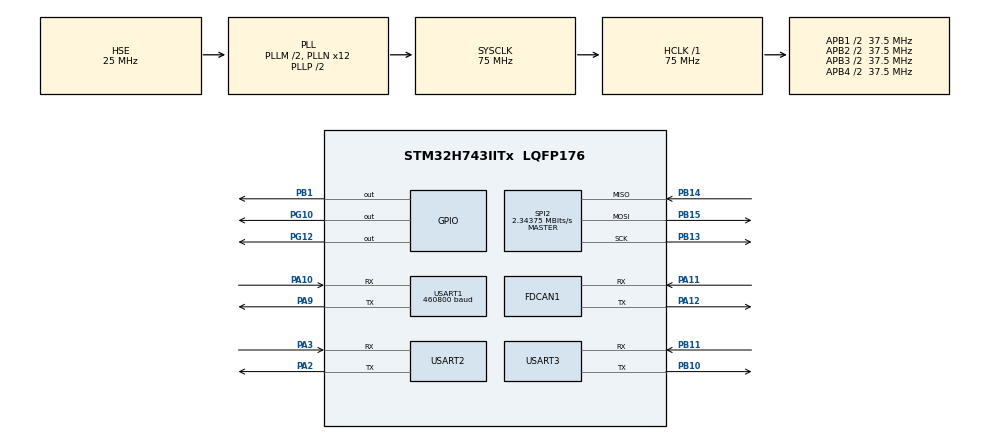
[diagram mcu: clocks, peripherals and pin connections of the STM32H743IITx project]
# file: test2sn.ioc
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FDCAN1.DataPrescaler=8
FDCAN1.DataSyncJumpWidth=1
FDCAN1.DataTimeSeg1=10
FDCAN1.DataTimeSeg2=9
FDCAN1.ExtFiltersNbr=0
FDCAN1.NominalPrescaler=8
FDCAN1.NominalSyncJumpWidth=1
FDCAN1.NominalTimeSeg1=10
FDCAN1.NominalTimeSeg2=9
FDCAN1.RxFifo0ElmtsNbr=1
FDCAN1.StdFiltersNbr=1
FDCAN1.TxFifoQueueElmtsNbr=1
FREERTOS.INCLUDE_vTaskDelayUntil=1
FREERTOS.Tasks01=defaultTask,0,128,StartDefaultTask,Default,NULL,Dynamic,NULL,NULL
Mcu.Family=STM32H7
Mcu.Name=STM32H743IITx
Mcu.Package=LQFP176
NVIC.FDCAN1_IT0_IRQn=true\:6\:0\:true\:false\:true\:true\:true\:true\:true
NVIC.PriorityGroup=NVIC_PRIORITYGROUP_4
NVIC.TIM16_IRQn=true\:9\:0\:true\:false\:true\:true\:true\:true\:true
NVIC.TIM17_IRQn=true\:7\:0\:true\:false\:true\:true\:true\:true\:true
NVIC.TIM1_UP_IRQn=true\:0\:0\:false\:false\:true\:false\:false\:true\:true
NVIC.TimeBase=TIM1_UP_IRQn
NVIC.TimeBaseIP=TIM1
NVIC.USART3_IRQn=true\:8\:0\:true\:false\:true\:true\:true\:true\:true
PA10.Mode=Asynchronous
PA10.Signal=USART1_RX
PA11.Mode=FDCAN_Activate
PA11.Signal=FDCAN1_RX
PA12.Mode=FDCAN_Activate
PA12.Signal=FDCAN1_TX
PA13\ (JTMS/SWDIO).Mode=Serial_Wire
PA13\ (JTMS/SWDIO).Signal=DEBUG_JTMS-SWDIO
PA14\ (JTCK/SWCLK).Mode=Serial_Wire
PA14\ (JTCK/SWCLK).Signal=DEBUG_JTCK-SWCLK
PA2.Mode=Asynchronous
PA2.Signal=USART2_TX
PA3.Mode=Asynchronous
PA3.Signal=USART2_RX
PA9.Mode=Asynchronous
PA9.Signal=USART1_TX
PB1.Signal=GPIO_Output
PB10.Mode=Asynchronous
PB10.Signal=USART3_TX
PB11.Mode=Asynchronous
PB11.Signal=USART3_RX
PB13.Mode=Full_Duplex_Master
PB13.Signal=SPI2_SCK
PB14.Mode=Full_Duplex_Master
PB14.Signal=SPI2_MISO
PB15.Mode=Full_Duplex_Master
PB15.Signal=SPI2_MOSI
PC14-OSC32_IN\ (OSC32_IN).Mode=LSE-External-Oscillator
PC14-OSC32_IN\ (OSC32_IN).Signal=RCC_OSC32_IN
PC15-OSC32_OUT\ (OSC32_OUT).Mode=LSE-External-Oscillator
PC15-OSC32_OUT\ (OSC32_OUT).Signal=RCC_OSC32_OUT
PG10.PinState=GPIO_PIN_SET
PG10.Signal=GPIO_Output
PG12.PinState=GPIO_PIN_SET
PG12.Signal=GPIO_Output
PH0-OSC_IN\ (PH0).Mode=HSE-External-Oscillator
PH0-OSC_IN\ (PH0).Signal=RCC_OSC_IN
PH1-OSC_OUT\ (PH1).Mode=HSE-External-Oscillator
PH1-OSC_OUT\ (PH1).Signal=RCC_OSC_OUT
ProjectManager.HeapSize=0x200
ProjectManager.StackSize=0x400
ProjectManager.TargetToolchain=STM32CubeIDE
RCC.ADCFreq_Value=200000000
RCC.APB1Freq_Value=37500000
RCC.APB2Freq_Value=37500000
RCC.APB3Freq_Value=37500000
RCC.APB4Freq_Value=37500000
RCC.CortexFreq_Value=75000000
RCC.D1PPRE=RCC_APB3_DIV2
RCC.D2PPRE1=RCC_APB1_DIV2
RCC.D2PPRE2=RCC_APB2_DIV2
RCC.D3PPRE=RCC_APB4_DIV2
RCC.DIVM1=2
RCC.DIVM2=2
RCC.DIVN1=12
RCC.DIVN2=32
RCC.DIVQ1=1
RCC.DIVQ2=5
RCC.FDCANCLockSelection=RCC_FDCANCLKSOURCE_PLL2
RCC.HCLKFreq_Value=75000000
RCC.PLL2FRACN=0
RCC.PLL3FRACN=0
RCC.PLLFRACN=0
RCC.PLLSourceVirtual=RCC_PLLSOURCE_HSE
RCC.RTCClockSelection=RCC_RTCCLKSOURCE_LSE
RCC.SYSCLKFreq_VALUE=75000000
RCC.SYSCLKSource=RCC_SYSCLKSOURCE_PLLCLK
RCC.USBFreq_Value=150000000
RTC.Date=2
RTC.Hours=9
RTC.Minutes=50
RTC.Month=RTC_MONTH_DECEMBER
RTC.Seconds=30
RTC.WeekDay=RTC_WEEKDAY_WEDNESDAY
RTC.Year=21
SPI2.BaudRatePrescaler=SPI_BAUDRATEPRESCALER_64
SPI2.CalculateBaudRate=2.34375 MBits/s
SPI2.DataSize=SPI_DATASIZE_8BIT
SPI2.Direction=SPI_DIRECTION_2LINES
SPI2.Mode=SPI_MODE_MASTER
SPI2.VirtualType=VM_MASTER
TIM16.Period=99
TIM16.Prescaler=7499
TIM17.Period=10-1
TIM17.Prescaler=6400-1
USART1.BaudRate=460800
USART1.VirtualMode-Asynchronous=VM_ASYNC
USART2.VirtualMode-Asynchronous=VM_ASYNC
USART3.VirtualMode-Asynchronous=VM_ASYNC
VP_FREERTOS_VS_CMSIS_V1.Mode=CMSIS_V1
VP_RTC_VS_RTC_Activate.Mode=RTC_Enabled
VP_RTC_VS_RTC_Calendar.Mode=RTC_Calendar
VP_RTC_VS_RTC_WakeUp_intern.Mode=WakeUp
VP_SYS_VS_tim1.Mode=TIM1
VP_TIM16_VS_ClockSourceINT.Mode=Enable_Timer
VP_TIM17_VS_ClockSourceINT.Mode=Enable_Timer
board=custom

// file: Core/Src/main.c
/* USER CODE BEGIN Header */
/**
  ******************************************************************************
  * @file           : main.c
  * @brief          : VehMotionHub — vehicle IMU + CAN motion logger
  ******************************************************************************
  * @attention
  *
  * <h2><center>&copy; Copyright (c) 2021 STMicroelectronics.
  * All rights reserved.</center></h2>
  *
  * This software component is licensed by ST under BSD 3-Clause license,
  * the "License"; You may not use this file except in compliance with the
  * License. You may obtain a copy of the License at:
  *                        opensource.org/licenses/BSD-3-Clause
  *
  ******************************************************************************
  */
/* USER CODE END Header */
#include "main.h"
#include "cmsis_os.h"
#include "fdcan.h"
#include "rtc.h"
#include "spi.h"
#include "tim.h"
#include "usart.h"
#include "gpio.h"

/* USER CODE BEGIN Includes */
#include "scha63x.h"
#include "app_rtos.h"
#include "app_tasks.h"
#include <stdbool.h>
/* USER CODE END Includes */

/* USER CODE BEGIN PTD */
#define CAN_ID_STEER_WHL_AG      (0x040U)
#define CAN_ID_WHL_FRNT          (0x1A0U)
#define CAN_ID_WHL_REAR          (0x1C0U)
#define CAN_ID_VEH_SPD_LGT       (0x0E0U)
#define CAN_ID_GEAR_LVR          (0x120U)
#define GRODO_CAN_UPDATES_MIN    ((uint8_t)5)
#define CAN_SPEED_SCALE          (0.00391f)
#define NMEA_SENTENCE_CAP        (160U)
#define NMEA_PREFIX_CAP          (16U)
#define UNIX_EPOCH_YEAR          (INT64_C(1970))
#define DAYS_PER_YEAR            (INT64_C(365))
#define SECONDS_PER_DAY          (INT64_C(86400))
#define SECONDS_PER_HOUR         (INT64_C(3600))
#define SECONDS_PER_MINUTE       (INT64_C(60))
#define BEIJING_UTC_OFFSET_H     (INT64_C(8))
#define STAMP_U32_MAX            (INT64_C(4294967295))
#define CAN_BYTE_GEAR            ((uint8_t)0)
#define CAN_BYTE_STEER           ((uint8_t)1)
#define CAN_BYTE_WHL_FL          ((uint8_t)1)
#define CAN_BYTE_WHL_RL          ((uint8_t)3)
#define CAN_BYTE_WHL_FR          ((uint8_t)5)
#define CAN_BYTE_WHL_RR          ((uint8_t)7)
#define CAN_BYTE_VEH_SPD         ((uint8_t)5)
#define NMEA_FIELD_TIME          ((uint8_t)1)
#define NMEA_FIELD_DATE          ((uint8_t)9)
#define UART_TX_TIMEOUT_MS       (0xFFFFU)

typedef struct
{
  float veh_speed;
  float gear;
  float steer;
  float whl_ft_l;
  float whl_ft_r;
  float whl_rr_l;
  float whl_rr_r;
} vehicle_can_payload_t;
/* USER CODE END PTD */

/* USER CODE BEGIN PV */
static RTC_DateTypeDef sdatestructure;
static RTC_TimeTypeDef stimestructure;
static double rtc_unix_sec = 0.0;
static double imu_time_offset = 0.0;
static double time_ms = 0.0;
static uint8_t can_update_count = (uint8_t)0;
static scha63x_real_data scha63x_data;
static vehicle_can_payload_t vehicle_data;
/* USER CODE END PV */

void SystemClock_Config(void);
void MX_FREERTOS_Init(void);
/* USER CODE BEGIN PFP */
static uint8_t ascii_hex(uint8_t nibble);
static void append_char(uint8_t *dst, uint32_t cap, uint32_t *pos, uint8_t ch);
static void nmea_begin(uint8_t *dst, uint32_t cap, uint32_t *pos, const char *prefix);
static void append_fixed3(uint8_t *dst, uint32_t cap, uint32_t *pos, double value);
static double f64_from_float(float value);
static void append_float_field(uint8_t *dst, uint32_t cap, uint32_t *pos, double value, bool last);
static uint8_t nmea_checksum(const uint8_t *sentence);
static void log_nmea(uint8_t *sentence, uint32_t cap, uint32_t pos);
static void log_cstring(const char *text);
static float u8_scaled(uint8_t raw);
static float u8_as_float(uint8_t raw);
static void note_can_update(void);
static uint8_t parse_two_digits(const uint8_t *src);
static uint32_t time2Stamp(const RTC_DateTypeDef *date, const RTC_TimeTypeDef *time);
static void usart3_forward_to_uart2(uint8_t *frame, uint16_t len);
static void sync_rtc_from_usart3(const uint8_t *frame, uint16_t len);
static void handle_usart3_frame(void);
static void vehicle_can_handle_frame(uint32_t can_id, const uint8_t *payload);
static void publish_grodo_sentence(void);
static void publish_grimu_sentence(void);
static void imu_sample_and_publish(void);
static void FDCAN1_ConfigFilter(uint32_t index, uint32_t id);
static void FDCAN1_Config(void);
/* USER CODE END PFP */

/* USER CODE BEGIN 0 */

static uint8_t ascii_hex(uint8_t nibble)
{
  static const uint8_t hex_chars[16] =
  {
    (uint8_t)'0', (uint8_t)'1', (uint8_t)'2', (uint8_t)'3',
    (uint8_t)'4', (uint8_t)'5', (uint8_t)'6', (uint8_t)'7',
    (uint8_t)'8', (uint8_t)'9', (uint8_t)'a', (uint8_t)'b',
    (uint8_t)'c', (uint8_t)'d', (uint8_t)'e', (uint8_t)'f'
  };
  uint8_t index;
  uint8_t ch;

  index = nibble;
  if (index > (uint8_t)15)
  {
    index = (uint8_t)0;
  }
  ch = hex_chars[index];
  return ch;
}

static void append_char(uint8_t *dst, uint32_t cap, uint32_t *pos, uint8_t ch)
{
  uint32_t index;

  if ((dst != NULL) && (pos != NULL))
  {
    index = *pos;
    if ((index + 1U) < cap)
    {
      dst[index] = ch;
      index++;
      dst[index] = 0U;
      *pos = index;
    }
  }
}

static void nmea_begin(uint8_t *dst, uint32_t cap, uint32_t *pos, const char *prefix)
{
  uint32_t i;
  char ch;
  uint8_t byte;
  bool stop;

  if (pos != NULL)
  {
    *pos = 0U;
  }
  if ((dst != NULL) && (cap > 0U))
  {
    dst[0] = 0U;
  }

  stop = false;
  if (prefix != NULL)
  {
    for (i = 0U; i < NMEA_PREFIX_CAP; i++)
    {
      if (stop == false)
      {
        ch = prefix[i];
        if (ch == '\0')
        {
          stop = true;
        }
        else
        {
          byte = (uint8_t)ch;
          append_char(dst, cap, pos, byte);
        }
      }
    }
  }
}

static void append_fixed3(uint8_t *dst, uint32_t cap, uint32_t *pos, double value)
{
  uint64_t scaled;
  uint64_t whole;
  uint64_t digit;
  uint32_t frac;
  uint32_t n;
  uint32_t part;
  double mag;
  double scaled_d;
  uint8_t digits[20];
  uint8_t d8;
  bool negative;

  negative = false;
  mag = value;
  if (mag < 0.0)
  {
    negative = true;
    mag = -mag;
  }
  if (mag != mag)
  {
    mag = 0.0;
    negative = false;
  }

  scaled_d = (mag * 1000.0) + 0.5;
  if (scaled_d > 1000000000000000.0)
  {
    scaled_d = 1000000000000000.0;
  }
  scaled = (uint64_t)scaled_d;
  if (scaled == 0ULL)
  {
    negative = false;
  }

  whole = scaled / 1000ULL;
  digit = scaled % 1000ULL;
  frac = (uint32_t)digit;

  if (negative == true)
  {
    append_char(dst, cap, pos, (uint8_t)'-');
  }

  n = 0U;
  if (whole == 0ULL)
  {
    d8 = (uint8_t)0;
    digits[0] = ascii_hex(d8);
    n = 1U;
  }
  else
  {
    while ((whole > 0ULL) && (n < 20U))
    {
      digit = whole % 10ULL;
      whole /= 10ULL;
      d8 = (uint8_t)digit;
      digits[n] = ascii_hex(d8);
      n++;
    }
  }

  while (n > 0U)
  {
    n--;
    append_char(dst, cap, pos, digits[n]);
  }

  append_char(dst, cap, pos, (uint8_t)'.');
  part = frac / 100U;
  d8 = (uint8_t)part;
  append_char(dst, cap, pos, ascii_hex(d8));
  part = (frac / 10U) % 10U;
  d8 = (uint8_t)part;
  append_char(dst, cap, pos, ascii_hex(d8));
  part = frac % 10U;
  d8 = (uint8_t)part;
  append_char(dst, cap, pos, ascii_hex(d8));
}

static double f64_from_float(float value)
{
  double out;

  out = (double)value;
  return out;
}

static void append_float_field(uint8_t *dst, uint32_t cap, uint32_t *pos, double value, bool last)
{
  uint8_t sep;

  append_fixed3(dst, cap, pos, value);
  if (last == true)
  {
    sep = (uint8_t)'*';
  }
  else
  {
    sep = (uint8_t)',';
  }
  append_char(dst, cap, pos, sep);
}

static uint8_t nmea_checksum(const uint8_t *sentence)
{
  uint32_t acc;
  uint32_t i;
  uint8_t byte;
  bool started;
  bool found_star;
  bool stop;

  acc = 0U;
  started = false;
  found_star = false;
  stop = false;
  i = 0U;

  if (sentence != NULL)
  {
    while ((i < NMEA_SENTENCE_CAP) && (stop == false))
    {
      byte = sentence[i];
      if (byte == 0U)
      {
        stop = true;
      }
      else if (byte == (uint8_t)'$')
      {
        started = true;
      }
      else if (byte == (uint8_t)'*')
      {
        found_star = true;
        stop = true;
      }
      else if (started == true)
      {
        acc ^= (uint32_t)byte;
      }
      else
      {
        /* Bytes before '$' are not part of the checksum. */
      }
      i++;
    }
  }

  if ((started == false) || (found_star == false))
  {
    acc = 0U;
  }
  return (uint8_t)acc;
}

static void log_nmea(uint8_t *sentence, uint32_t cap, uint32_t pos)
{
  uint8_t sum;
  uint32_t sum_u;
  uint32_t nibble;
  uint8_t hi;
  uint8_t lo;

  sum = nmea_checksum(sentence);
  sum_u = (uint32_t)sum;
  nibble = sum_u >> 4U;
  nibble &= 0x0FU;
  hi = (uint8_t)nibble;
  nibble = sum_u & 0x0FU;
  lo = (uint8_t)nibble;
  append_char(sentence, cap, &pos, ascii_hex(hi));
  append_char(sentence, cap, &pos, ascii_hex(lo));
  append_char(sentence, cap, &pos, (uint8_t)'\r');
  append_char(sentence, cap, &pos, (uint8_t)'\n');
  if (pos <= 0xFFFFU)
  {
    App_LogWrite(sentence, (uint16_t)pos);
  }
}

static void log_cstring(const char *text)
{
  uint8_t buf[40];
  uint32_t i;
  uint32_t n;
  uint32_t cap;
  char ch;
  bool stop;

  n = 0U;
  stop = false;
  cap = sizeof(buf);
  if (text != NULL)
  {
    for (i = 0U; i < cap; i++)
    {
      if (stop == false)
      {
        ch = text[i];
        if (ch == '\0')
        {
          stop = true;
        }
        else
        {
          buf[n] = (uint8_t)ch;
          n++;
        }
      }
    }
  }

  if ((n > 0U) && (n <= 0xFFFFU))
  {
    App_LogWrite(buf, (uint16_t)n);
  }
}

static float u8_scaled(uint8_t raw)
{
  float value;

  value = (float)raw;
  value = value * CAN_SPEED_SCALE;
  return value;
}

static float u8_as_float(uint8_t raw)
{
  float value;

  value = (float)raw;
  return value;
}

static void note_can_update(void)
{
  if (can_update_count < (uint8_t)255)
  {
    can_update_count++;
  }
}

static uint8_t parse_two_digits(const uint8_t *src)
{
  uint8_t hi;
  uint8_t lo;
  uint8_t value;
  uint32_t acc;
  bool digits;

  value = (uint8_t)0;
  digits = false;
  if (src != NULL)
  {
    hi = src[0];
    lo = src[1];
    if ((hi >= (uint8_t)'0') && (hi <= (uint8_t)'9') &&
        (lo >= (uint8_t)'0') && (lo <= (uint8_t)'9'))
    {
      digits = true;
    }
    if (digits == true)
    {
      acc = (uint32_t)hi;
      acc -= (uint32_t)'0';
      acc *= 10U;
      acc += (uint32_t)lo;
      acc -= (uint32_t)'0';
      value = (uint8_t)acc;
    }
  }
  return value;
}

static uint32_t time2Stamp(const RTC_DateTypeDef *date, const RTC_TimeTypeDef *time)
{
  static const uint16_t mon_days[12] =
  {
    (uint16_t)0, (uint16_t)31, (uint16_t)59, (uint16_t)90,
    (uint16_t)120, (uint16_t)151, (uint16_t)181, (uint16_t)212,
    (uint16_t)243, (uint16_t)273, (uint16_t)304, (uint16_t)334
  };
  uint32_t result;
  uint32_t year_full;
  uint32_t month_index;
  uint32_t leaps;
  uint16_t mdays;
  uint8_t month = (uint8_t)0;
  uint8_t day;
  uint8_t hour_u8;
  uint8_t min_u8;
  uint8_t sec_u8;
  uint8_t year_u8;
  int64_t stamp;
  int64_t yday;
  int64_t hours;
  int64_t mins;
  int64_t secs;
  int64_t leap_days;
  int64_t year_i;
  bool is_leap;
  bool valid;

  result = 0U;
  valid = false;
  if ((date != NULL) && (time != NULL))
  {
    month = date->Month;
    if ((month >= (uint8_t)1) && (month <= (uint8_t)12))
    {
      valid = true;
    }
  }

  if (valid == true)
  {
    year_u8 = date->Year;
    year_full = (uint32_t)year_u8;
    year_full += 2000U;
    month_index = (uint32_t)month;
    month_index -= 1U;

    stamp = (int64_t)year_full;
    stamp -= UNIX_EPOCH_YEAR;
    stamp *= DAYS_PER_YEAR;
    stamp *= SECONDS_PER_DAY;

    mdays = mon_days[month_index];
    day = date->Date;
    yday = (int64_t)mdays;
    yday += (int64_t)day;
    yday -= INT64_C(1);
    yday *= SECONDS_PER_DAY;
    stamp += yday;

    hour_u8 = time->Hours;
    hours = (int64_t)hour_u8;
    hours -= BEIJING_UTC_OFFSET_H;
    stamp += hours * SECONDS_PER_HOUR;

    min_u8 = time->Minutes;
    mins = (int64_t)min_u8;
    stamp += mins * SECONDS_PER_MINUTE;

    sec_u8 = time->Seconds;
    secs = (int64_t)sec_u8;
    stamp += secs;

    is_leap = false;
    if (((year_full % 4U) == 0U) &&
        (((year_full % 100U) != 0U) || ((year_full % 400U) == 0U)))
    {
      is_leap = true;
    }
    if ((month > (uint8_t)2) && (is_leap == true))
    {
      stamp += SECONDS_PER_DAY;
    }

    leaps = year_full - 1969U;
    year_i = (int64_t)leaps;
    leap_days = year_i / INT64_C(4);
    leap_days -= year_i / INT64_C(100);
    leap_days += year_i / INT64_C(400);
    leap_days *= SECONDS_PER_DAY;
    stamp += leap_days;

    if ((stamp >= INT64_C(0)) && (stamp <= STAMP_U32_MAX))
    {
      result = (uint32_t)stamp;
    }
  }

  return result;
}

static void usart3_forward_to_uart2(uint8_t *frame, uint16_t len)
{
  uint8_t crlf[2];

  if ((frame != NULL) && (len > (uint16_t)0))
  {
    crlf[0] = (uint8_t)'\r';
    crlf[1] = (uint8_t)'\n';
    (void)HAL_UART_Transmit(&huart2, frame, len, UART_TX_TIMEOUT_MS);
    (void)HAL_UART_Transmit(&huart2, crlf, (uint16_t)2, UART_TX_TIMEOUT_MS);
  }
}

static void sync_rtc_from_usart3(const uint8_t *frame, uint16_t len)
{
  uint16_t idx;
  uint32_t end_index;
  uint32_t at;
  uint32_t need;
  uint8_t field;
  uint8_t year;

  field = (uint8_t)0;
  if (frame != NULL)
  {
    for (idx = (uint16_t)0; idx < len; idx++)
    {
      if (frame[idx] == (uint8_t)',')
      {
        if (field < (uint8_t)255)
        {
          field++;
        }
        end_index = (uint32_t)idx;
        end_index += 6U;
        need = (uint32_t)len;
        if ((field == NMEA_FIELD_TIME) && (end_index < need))
        {
          at = (uint32_t)idx;
          at += 1U;
          stimestructure.Hours = parse_two_digits(&frame[at]);
          at += 2U;
          stimestructure.Minutes = parse_two_digits(&frame[at]);
          at += 2U;
          stimestructure.Seconds = parse_two_digits(&frame[at]);
        }
        else if ((field == NMEA_FIELD_DATE) && (end_index < need))
        {
          at = (uint32_t)idx;
          at += 1U;
          sdatestructure.Date = parse_two_digits(&frame[at]);
          at += 2U;
          sdatestructure.Month = parse_two_digits(&frame[at]);
          at += 2U;
          sdatestructure.Year = parse_two_digits(&frame[at]);
        }
        else
        {
          /* Other CSV fields are not used for RTC sync. */
        }
      }
    }
  }

  if (osMutexWait(g_telemetryMutex, osWaitForever) == osOK)
  {
    year = sdatestructure.Year;
    if (year != (uint8_t)0)
    {
      (void)HAL_RTC_SetTime(&hrtc, &stimestructure, RTC_FORMAT_BIN);
      (void)HAL_RTC_SetDate(&hrtc, &sdatestructure, RTC_FORMAT_BIN);
    }
    else
    {
      (void)HAL_RTC_GetTime(&hrtc, &stimestructure, RTC_FORMAT_BIN);
      (void)HAL_RTC_GetDate(&hrtc, &sdatestructure, RTC_FORMAT_BIN);
    }

    imu_time_offset = 0.0;
    rtc_unix_sec = (double)time2Stamp(&sdatestructure, &stimestructure);
    time_ms = rtc_unix_sec + imu_time_offset;
    USART3_Receive_Flag = false;
    (void)osMutexRelease(g_telemetryMutex);
  }
}

static void handle_usart3_frame(void)
{
  uint8_t frame[USART3_RX_CAPACITY];
  uint16_t len;
  uint16_t i;
  uint32_t count;

  if (USART3_Receive_Flag == true)
  {
    len = USART3_RxFrameLen;
    count = (uint32_t)len;
    if (count >= USART3_RX_CAPACITY)
    {
      count = USART3_RX_CAPACITY - 1U;
      len = (uint16_t)count;
    }
    for (i = (uint16_t)0; i < len; i++)
    {
      frame[i] = USART3_Buff[i];
    }
    frame[len] = 0U;
    usart3_forward_to_uart2(frame, len);
    sync_rtc_from_usart3(frame, len);
  }
}

static void vehicle_can_handle_frame(uint32_t can_id, const uint8_t *payload)
{
  if (payload != NULL)
  {
    switch (can_id)
    {
    case CAN_ID_VEH_SPD_LGT:
      vehicle_data.veh_speed = u8_scaled(payload[CAN_BYTE_VEH_SPD]);
      note_can_update();
      break;
    case CAN_ID_WHL_FRNT:
      vehicle_data.whl_ft_l = u8_scaled(payload[CAN_BYTE_WHL_FL]);
      vehicle_data.whl_ft_r = u8_scaled(payload[CAN_BYTE_WHL_FR]);
      note_can_update();
      break;
    case CAN_ID_WHL_REAR:
      vehicle_data.whl_rr_l = u8_scaled(payload[CAN_BYTE_WHL_RL]);
      vehicle_data.whl_rr_r = u8_scaled(payload[CAN_BYTE_WHL_RR]);
      note_can_update();
      break;
    case CAN_ID_STEER_WHL_AG:
      vehicle_data.steer = u8_as_float(payload[CAN_BYTE_STEER]);
      note_can_update();
      break;
    case CAN_ID_GEAR_LVR:
      vehicle_data.gear = u8_as_float(payload[CAN_BYTE_GEAR]);
      note_can_update();
      break;
    default:
      break;
    }
  }
}

static void publish_grimu_sentence(void)
{
  uint8_t sentence[NMEA_SENTENCE_CAP];
  uint32_t pos;

  nmea_begin(sentence, NMEA_SENTENCE_CAP, &pos, "$GRIMU,");
  append_float_field(sentence, NMEA_SENTENCE_CAP, &pos, time_ms, false);
  append_float_field(sentence, NMEA_SENTENCE_CAP, &pos, f64_from_float(scha63x_data.acc_x), false);
  append_float_field(sentence, NMEA_SENTENCE_CAP, &pos, f64_from_float(scha63x_data.acc_y), false);
  append_float_field(sentence, NMEA_SENTENCE_CAP, &pos, f64_from_float(scha63x_data.acc_z), false);
  append_float_field(sentence, NMEA_SENTENCE_CAP, &pos, f64_from_float(scha63x_data.gyro_x), false);
  append_float_field(sentence, NMEA_SENTENCE_CAP, &pos, f64_from_float(scha63x_data.gyro_y), false);
  append_float_field(sentence, NMEA_SENTENCE_CAP, &pos, f64_from_float(scha63x_data.gyro_z), false);
  append_float_field(sentence, NMEA_SENTENCE_CAP, &pos, f64_from_float(scha63x_data.temp_due), true);
  log_nmea(sentence, NMEA_SENTENCE_CAP, pos);
  imu_time_offset += 0.01;
  time_ms = rtc_unix_sec + imu_time_offset;
}

static void publish_grodo_sentence(void)
{
  uint8_t sentence[NMEA_SENTENCE_CAP];
  uint32_t pos;

  nmea_begin(sentence, NMEA_SENTENCE_CAP, &pos, "$GRODO,");
  append_float_field(sentence, NMEA_SENTENCE_CAP, &pos, time_ms, false);
  append_float_field(sentence, NMEA_SENTENCE_CAP, &pos, f64_from_float(vehicle_data.whl_ft_l), false);
  append_float_field(sentence, NMEA_SENTENCE_CAP, &pos, f64_from_float(vehicle_data.whl_ft_r), false);
  append_float_field(sentence, NMEA_SENTENCE_CAP, &pos, f64_from_float(vehicle_data.whl_rr_l), false);
  append_float_field(sentence, NMEA_SENTENCE_CAP, &pos, f64_from_float(vehicle_data.whl_rr_r), false);
  append_float_field(sentence, NMEA_SENTENCE_CAP, &pos, f64_from_float(vehicle_data.veh_speed), false);
  append_float_field(sentence, NMEA_SENTENCE_CAP, &pos, f64_from_float(vehicle_data.gear), true);
  log_nmea(sentence, NMEA_SENTENCE_CAP, pos);
  can_update_count = (uint8_t)0;
}

static void imu_sample_and_publish(void)
{
  scha63x_raw_data raw;
  scha63x_raw_data_summed summed;

  scha63x_read_data(&raw);
  summed.acc_x_lsb = raw.acc_x_lsb;
  summed.acc_y_lsb = raw.acc_y_lsb;
  summed.acc_z_lsb = raw.acc_z_lsb;
  summed.gyro_x_lsb = raw.gyro_x_lsb;
  summed.gyro_y_lsb = raw.gyro_y_lsb;
  summed.gyro_z_lsb = raw.gyro_z_lsb;
  summed.temp_due_lsb = raw.temp_due_lsb;
  summed.temp_uno_lsb = raw.temp_uno_lsb;
  scha63x_convert_data(&summed, &scha63x_data);
  scha63x_cross_axis_compensation(&scha63x_data);

  if (osMutexWait(g_telemetryMutex, osWaitForever) == osOK)
  {
    rtc_unix_sec = (double)time2Stamp(&sdatestructure, &stimestructure);
    time_ms = rtc_unix_sec + imu_time_offset;
    publish_grimu_sentence();
    (void)osMutexRelease(g_telemetryMutex);
  }
}

void data_output(void const *argument)
{
  (void)argument;

  for (;;)
  {
    if (osSemaphoreWait(g_usart3RxSem, 0U) == osOK)
    {
      handle_usart3_frame();
    }

    if (osSemaphoreWait(g_imuTickSem, 0U) == osOK)
    {
      imu_sample_and_publish();
    }
    else
    {
      (void)osDelay(1U);
    }
  }
}

void work_state(void const *argument)
{
  (void)argument;

  for (;;)
  {
    HAL_GPIO_WritePin(GPIOB, GPIO_PIN_1, GPIO_PIN_SET);
    (void)osDelay(500U);
    HAL_GPIO_WritePin(GPIOB, GPIO_PIN_1, GPIO_PIN_RESET);
    (void)osDelay(500U);
  }
}

void can_com(void const *argument)
{
  FDCAN_RxHeaderTypeDef rx_header;
  uint8_t rx_data[8];
  bool publish;
  uint32_t fill;

  (void)argument;

  for (;;)
  {
    publish = false;
    if (osSemaphoreWait(g_canRxSem, osWaitForever) == osOK)
    {
      if (osMutexWait(g_vehicleDataMutex, osWaitForever) == osOK)
      {
        fill = HAL_FDCAN_GetRxFifoFillLevel(&hfdcan1, FDCAN_RX_FIFO0);
        while (fill > 0U)
        {
          if (HAL_FDCAN_GetRxMessage(&hfdcan1, FDCAN_RX_FIFO0, &rx_header, rx_data) != HAL_OK)
          {
            fill = 0U;
          }
          else
          {
            vehicle_can_handle_frame(rx_header.Identifier, rx_data);
            fill = HAL_FDCAN_GetRxFifoFillLevel(&hfdcan1, FDCAN_RX_FIFO0);
          }
        }

        if (can_update_count >= GRODO_CAN_UPDATES_MIN)
        {
          publish = true;
        }
        (void)osMutexRelease(g_vehicleDataMutex);
      }
    }

    if (publish == true)
    {
      if (osMutexWait(g_telemetryMutex, osWaitForever) == osOK)
      {
        if (osMutexWait(g_vehicleDataMutex, osWaitForever) == osOK)
        {
          publish_grodo_sentence();
          (void)osMutexRelease(g_vehicleDataMutex);
        }
        (void)osMutexRelease(g_telemetryMutex);
      }
    }
  }
}

/* USER CODE END 0 */

int main(void)
{

  /* MCU Configuration--------------------------------------------------------*/

  /* Reset of all peripherals, Initializes the Flash interface and the Systick. */
  HAL_Init();

  /* Configure the system clock */
  SystemClock_Config();

  /* Initialize all configured peripherals */
  MX_GPIO_Init();
  MX_SPI2_Init();
  MX_USART1_UART_Init();
  MX_USART3_UART_Init();
  MX_RTC_Init();
  MX_USART2_UART_Init();
  MX_TIM16_Init();
  MX_TIM17_Init();
  MX_FDCAN1_Init();
  /* USER CODE BEGIN 2 */
  {
    char scha63x_serial_num[14] = { '\0' };
    int32_t imu_status;

    FDCAN1_Config();
    if (HAL_TIM_Base_Start_IT(&htim16) != HAL_OK)
    {
      Error_Handler();
    }
    imu_status = scha63x_init(scha63x_serial_num);
    if (imu_status != SCHA63X_OK)
    {
      log_cstring("\r\n IMU INIT fail!\r\n");
    }
    HAL_Delay(1000U);
  }
  /* USER CODE END 2 */

  MX_FREERTOS_Init();
  osKernelStart();
  return 0;
}

void SystemClock_Config(void)
{
  RCC_OscInitTypeDef RCC_OscInitStruct = {0};
  RCC_ClkInitTypeDef RCC_ClkInitStruct = {0};
  RCC_PeriphCLKInitTypeDef PeriphClkInitStruct = {0};

  /** Supply configuration update enable
  */
  HAL_PWREx_ConfigSupply(PWR_LDO_SUPPLY);
  /** Configure the main internal regulator output voltage
  */
  __HAL_PWR_VOLTAGESCALING_CONFIG(PWR_REGULATOR_VOLTAGE_SCALE3);

  while(!__HAL_PWR_GET_FLAG(PWR_FLAG_VOSRDY)) {}
  /** Configure LSE Drive Capability
  */
  HAL_PWR_EnableBkUpAccess();
  __HAL_RCC_LSEDRIVE_CONFIG(RCC_LSEDRIVE_LOW);
  /** Macro to configure the PLL clock source
  */
  __HAL_RCC_PLL_PLLSOURCE_CONFIG(RCC_PLLSOURCE_HSE);
  /** Initializes the RCC Oscillators according to the specified parameters
  * in the RCC_OscInitTypeDef structure.
  */
  RCC_OscInitStruct.OscillatorType = RCC_OSCILLATORTYPE_HSE|RCC_OSCILLATORTYPE_LSE;
  RCC_OscInitStruct.HSEState = RCC_HSE_ON;
  RCC_OscInitStruct.LSEState = RCC_LSE_ON;
  RCC_OscInitStruct.PLL.PLLState = RCC_PLL_ON;
  RCC_OscInitStruct.PLL.PLLSource = RCC_PLLSOURCE_HSE;
  RCC_OscInitStruct.PLL.PLLM = 2;
  RCC_OscInitStruct.PLL.PLLN = 12;
  RCC_OscInitStruct.PLL.PLLP = 2;
  RCC_OscInitStruct.PLL.PLLQ = 1;
  RCC_OscInitStruct.PLL.PLLR = 2;
  RCC_OscInitStruct.PLL.PLLRGE = RCC_PLL1VCIRANGE_3;
  RCC_OscInitStruct.PLL.PLLVCOSEL = RCC_PLL1VCOMEDIUM;
  RCC_OscInitStruct.PLL.PLLFRACN = 0;
  if (HAL_RCC_OscConfig(&RCC_OscInitStruct) != HAL_OK)
  {
    Error_Handler();
  }
  /** Initializes the CPU, AHB and APB buses clocks
  */
  RCC_ClkInitStruct.ClockType = RCC_CLOCKTYPE_HCLK|RCC_CLOCKTYPE_SYSCLK
                              |RCC_CLOCKTYPE_PCLK1|RCC_CLOCKTYPE_PCLK2
                              |RCC_CLOCKTYPE_D3PCLK1|RCC_CLOCKTYPE_D1PCLK1;
  RCC_ClkInitStruct.SYSCLKSource = RCC_SYSCLKSOURCE_PLLCLK;
  RCC_ClkInitStruct.SYSCLKDivider = RCC_SYSCLK_DIV1;
  RCC_ClkInitStruct.AHBCLKDivider = RCC_HCLK_DIV1;
  RCC_ClkInitStruct.APB3CLKDivider = RCC_APB3_DIV2;
  RCC_ClkInitStruct.APB1CLKDivider = RCC_APB1_DIV2;
  RCC_ClkInitStruct.APB2CLKDivider = RCC_APB2_DIV2;
  RCC_ClkInitStruct.APB4CLKDivider = RCC_APB4_DIV2;

  if (HAL_RCC_ClockConfig(&RCC_ClkInitStruct, FLASH_LATENCY_1) != HAL_OK)
  {
    Error_Handler();
  }
  PeriphClkInitStruct.PeriphClockSelection = RCC_PERIPHCLK_RTC|RCC_PERIPHCLK_USART3
                              |RCC_PERIPHCLK_USART2|RCC_PERIPHCLK_FDCAN
                              |RCC_PERIPHCLK_USART1|RCC_PERIPHCLK_SPI2;
  PeriphClkInitStruct.PLL2.PLL2M = 2;
  PeriphClkInitStruct.PLL2.PLL2N = 32;
  PeriphClkInitStruct.PLL2.PLL2P = 2;
  PeriphClkInitStruct.PLL2.PLL2Q = 5;
  PeriphClkInitStruct.PLL2.PLL2R = 2;
  PeriphClkInitStruct.PLL2.PLL2RGE = RCC_PLL2VCIRANGE_3;
  PeriphClkInitStruct.PLL2.PLL2VCOSEL = RCC_PLL2VCOWIDE;
  PeriphClkInitStruct.PLL2.PLL2FRACN = 0;
  PeriphClkInitStruct.Spi123ClockSelection = RCC_SPI123CLKSOURCE_PLL;
  PeriphClkInitStruct.FdcanClockSelection = RCC_FDCANCLKSOURCE_PLL2;
  PeriphClkInitStruct.Usart234578ClockSelection = RCC_USART234578CLKSOURCE_D2PCLK1;
  PeriphClkInitStruct.Usart16ClockSelection = RCC_USART16CLKSOURCE_D2PCLK2;
  PeriphClkInitStruct.RTCClockSelection = RCC_RTCCLKSOURCE_LSE;
  if (HAL_RCCEx_PeriphCLKConfig(&PeriphClkInitStruct) != HAL_OK)
  {
    Error_Handler();
  }
}

/* USER CODE BEGIN 4 */

static void FDCAN1_ConfigFilter(uint32_t index, uint32_t id)
{
  FDCAN_FilterTypeDef filter = {0};

  filter.IdType = FDCAN_STANDARD_ID;
  filter.FilterIndex = index;
  filter.FilterType = FDCAN_FILTER_MASK;
  filter.FilterConfig = FDCAN_FILTER_TO_RXFIFO0;
  filter.FilterID1 = id;
  filter.FilterID2 = 0x7FFU;
  if (HAL_FDCAN_ConfigFilter(&hfdcan1, &filter) != HAL_OK)
  {
    Error_Handler();
  }
}

static void FDCAN1_Config(void)
{
  FDCAN1_ConfigFilter(0U, CAN_ID_STEER_WHL_AG);
  FDCAN1_ConfigFilter(1U, CAN_ID_WHL_FRNT);
  FDCAN1_ConfigFilter(2U, CAN_ID_WHL_REAR);
  FDCAN1_ConfigFilter(3U, CAN_ID_VEH_SPD_LGT);
  FDCAN1_ConfigFilter(4U, CAN_ID_GEAR_LVR);

  /* Reject non-matching standard/extended IDs and remote frames. */
  if (HAL_FDCAN_ConfigGlobalFilter(&hfdcan1, FDCAN_REJECT, FDCAN_REJECT, FDCAN_FILTER_REMOTE, FDCAN_FILTER_REMOTE) != HAL_OK)
  {
    Error_Handler();
  }

  /* Start the FDCAN module */
  if (HAL_FDCAN_Start(&hfdcan1) != HAL_OK)
  {
    Error_Handler();
  }

  if (HAL_FDCAN_ActivateNotification(&hfdcan1, FDCAN_IT_RX_FIFO0_NEW_MESSAGE, 0U) != HAL_OK)
  {
    Error_Handler();
  }
}

void HAL_FDCAN_RxFifo0Callback(FDCAN_HandleTypeDef *hfdcan, uint32_t RxFifo0ITs)
{
  (void)hfdcan;
  if ((RxFifo0ITs & FDCAN_IT_RX_FIFO0_NEW_MESSAGE) != 0U)
  {
    App_NotifyCanRxFromIsr();
  }
}

/* USER CODE END 4 */

 /**
  * @brief  Period elapsed callback in non blocking mode
  * @note   This function is called  when TIM1 interrupt took place, inside
  * HAL_TIM_IRQHandler(). It makes a direct call to HAL_IncTick() to increment
  * a global variable "uwTick" used as application time base.
  * @param  htim : TIM handle
  * @retval None
  */
void HAL_TIM_PeriodElapsedCallback(TIM_HandleTypeDef *htim)
{
  if (htim->Instance == TIM1) {
    HAL_IncTick();
  }
  /* USER CODE BEGIN Callback 1 */
  /* TIM16: IMU/GRODO sentence tick (see tim.c prescaler/period). */
  if (htim == &htim16)
  {
    App_NotifyImuTickFromIsr();
  }
  /* USER CODE END Callback 1 */
}

void Error_Handler(void)
{
  __disable_irq();
  for (;;)
  {
  }
}

#ifdef  USE_FULL_ASSERT
/**
  * @brief  Reports the name of the source file and the source line number
  *         where the assert_param error has occurred.
  * @param  file: pointer to the source file name
  * @param  line: assert_param error line source number
  * @retval None
  */
void assert_failed(uint8_t *file, uint32_t line)
{
  /* USER CODE BEGIN 6 */
  (void)file;
  (void)line;
  /* USER CODE END 6 */
}
#endif /* USE_FULL_ASSERT */

/************************ (C) COPYRIGHT STMicroelectronics *****END OF FILE****/

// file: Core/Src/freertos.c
/* USER CODE BEGIN Header */
/**
  ******************************************************************************
  * File Name          : freertos.c
  * Description        : Code for freertos applications
  ******************************************************************************
  */
/* USER CODE END Header */

#include "FreeRTOS.h"
#include "task.h"
#include "main.h"
#include "cmsis_os.h"
#include "app_rtos.h"
#include "app_tasks.h"

osThreadId defaultTaskHandle;

void MX_FREERTOS_Init(void);

void vApplicationGetIdleTaskMemory( StaticTask_t **ppxIdleTaskTCBBuffer, StackType_t **ppxIdleTaskStackBuffer, uint32_t *pulIdleTaskStackSize );

/* USER CODE BEGIN GET_IDLE_TASK_MEMORY */
static StaticTask_t xIdleTaskTCBBuffer;
static StackType_t xIdleStack[configMINIMAL_STACK_SIZE];

void vApplicationGetIdleTaskMemory( StaticTask_t **ppxIdleTaskTCBBuffer, StackType_t **ppxIdleTaskStackBuffer, uint32_t *pulIdleTaskStackSize )
{
  if (ppxIdleTaskTCBBuffer != NULL)
  {
    *ppxIdleTaskTCBBuffer = &xIdleTaskTCBBuffer;
  }
  if (ppxIdleTaskStackBuffer != NULL)
  {
    *ppxIdleTaskStackBuffer = &xIdleStack[0];
  }
  if (pulIdleTaskStackSize != NULL)
  {
    *pulIdleTaskStackSize = configMINIMAL_STACK_SIZE;
  }
}
/* USER CODE END GET_IDLE_TASK_MEMORY */

osThreadId dataOutTaskHandle;
osThreadId canComTaskHandle;
osThreadId workTaskHandle;

osThreadDef(dataOutTask, data_output, osPriorityNormal, 1, 512);
osThreadDef(canComTask, can_com, osPriorityAboveNormal, 1, 512);
osThreadDef(workTask, work_state, osPriorityBelowNormal, 1, 256);

void MX_FREERTOS_Init(void)
{
  App_RtosInitObjects();

  dataOutTaskHandle = osThreadCreate(osThread(dataOutTask), NULL);
  canComTaskHandle = osThreadCreate(osThread(canComTask), NULL);
  workTaskHandle = osThreadCreate(osThread(workTask), NULL);

  if ((dataOutTaskHandle == NULL) ||
      (canComTaskHandle == NULL) ||
      (workTaskHandle == NULL))
  {
    Error_Handler();
  }
}
